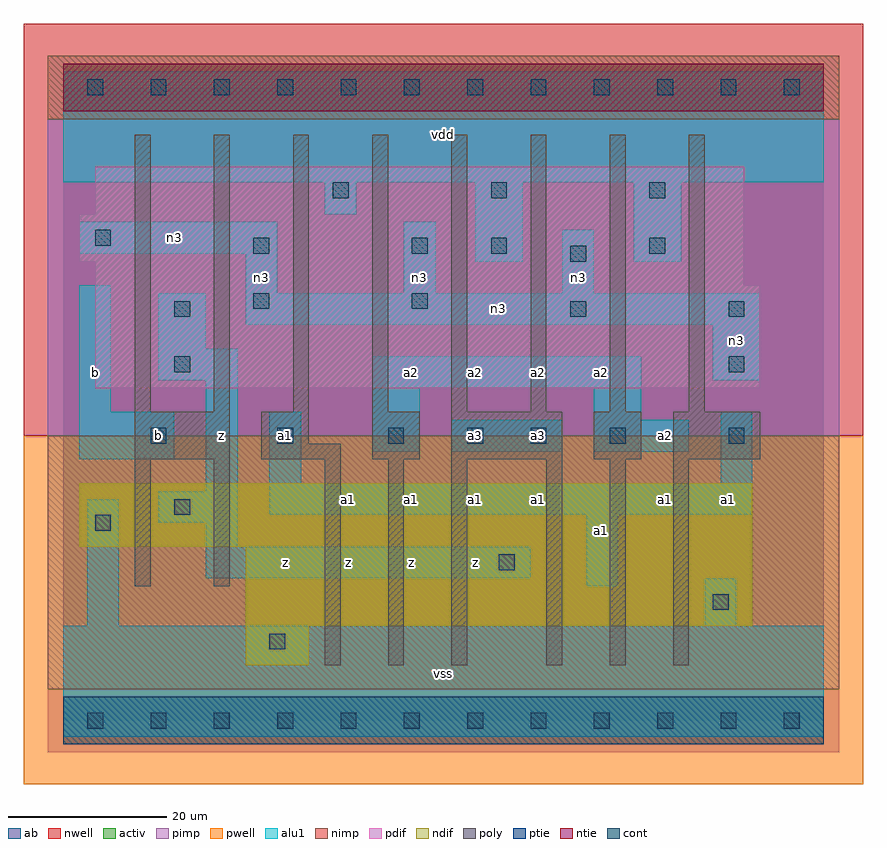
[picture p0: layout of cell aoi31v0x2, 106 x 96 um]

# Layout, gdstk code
import gdstk
lib = gdstk.Library(unit=1e-6, precision=1e-09)
def R(c, l, rs):  # rectangles x0, y0, x1, y1
    for r in rs: c.add(gdstk.rectangle(r[:2], r[2:], *l))
def A(c, l, x, y, w, h, nx, ny, dx, dy):  # array of equal rectangles
    R(c, l, [(x+i*dx, y+j*dy, x+i*dx+w, y+j*dy+h) for i in range(nx) for j in range(ny)])
ndif = (3, 0)
pdif = (4, 0)
ntie = (5, 0)
ptie = (6, 0)
cont = (25, 0)
pwell = (41, 0)
nwell = (42, 0)
activ = (43, 0)
pimp = (44, 0)
nimp = (45, 0)
poly = (46, 0)
alu1 = (49, 0)
ab = (63, 0)

aoi31v0x2 = lib.new_cell('aoi31v0x2')
R(aoi31v0x2, ndif, [(23,7,31,12), (23,12,87,22), (2,22,87,30)])
R(aoi31v0x2, pdif, [(4,42,88,55), (4,55,86,58), (2,58,86,64), (4,64,86,70)])
R(aoi31v0x2, ntie, [(0,77,96,83)])
R(aoi31v0x2, ptie, [(0,-3,96,3)])
A(aoi31v0x2, cont, 3, -1, 2, 2, 12, 2, 8, 80)
A(aoi31v0x2, cont, 34, 66, 2, 2, 3, 1, 20, 0)
R(aoi31v0x2, cont, [(26,9,28,11), (82,14,84,16), (55,19,57,21), (4,24,6,26), (14,26,16,28), (11,35,13,37), (27,35,29,37), (41,35,43,37), (51,35,53,37), (59,35,61,37), (69,35,71,37), (84,35,86,37), (14,44,16,46), (84,44,86,46), (14,51,16,53), (64,51,66,53), (84,51,86,53), (24,52,26,54), (44,52,46,54), (64,58,66,60), (24,59,26,61), (44,59,46,61), (54,59,56,61), (74,59,76,61), (4,60,6,62)])
R(aoi31v0x2, pwell, [(-5,-8,101,36)])
R(aoi31v0x2, nwell, [(-5,36,101,88)])
R(aoi31v0x2, activ, [(0,-3,96,3), (23,7,31,12), (23,12,87,22), (2,22,87,30), (4,42,88,55), (4,55,86,58), (2,58,86,64), (4,64,86,70), (0,77,96,83)])
R(aoi31v0x2, pimp, [(-2,-4,98,4), (-2,36,98,76)])
R(aoi31v0x2, nimp, [(-2,4,98,36), (-2,76,98,84)])
A(aoi31v0x2, poly, 33, 7, 2, 26, 3, 1, 8, 0)
A(aoi31v0x2, poly, 61, 7, 2, 26, 3, 1, 8, 0)
A(aoi31v0x2, poly, 9, 39, 2, 35, 8, 1, 10, 0)
R(aoi31v0x2, poly, [(9,17,11,33), (19,17,21,33), (9,33,21,39), (25,33,35,35), (39,33,45,39), (49,33,63,39), (67,33,73,39), (77,33,88,39), (25,35,31,39)])
R(aoi31v0x2, alu1, [(0,-2,96,12), (3,12,7,28), (81,12,85,18), (66,17,70,26), (18,18,59,22), (18,22,22,25), (12,25,22,29), (26,26,87,30), (18,29,22,43), (26,30,30,39), (83,30,87,39), (2,33,14,39), (39,34,45,42), (49,34,63,38), (67,34,79,38), (67,38,73,42), (2,39,6,55), (39,42,73,46), (12,43,22,47), (82,43,88,50), (12,47,18,54), (23,50,88,54), (23,54,27,59), (43,54,47,63), (63,54,67,62), (52,58,58,68), (72,58,78,68), (2,59,27,63), (33,64,37,68), (0,68,96,82)])
R(aoi31v0x2, ab, [(0,0,96,80)])
aoi31v0x2.add(gdstk.Label('n3', (45,56), layer=49, texttype=0))
aoi31v0x2.add(gdstk.Label('n3', (14,61), layer=49, texttype=0))
aoi31v0x2.add(gdstk.Label('n3', (25,56), layer=49, texttype=0))
aoi31v0x2.add(gdstk.Label('n3', (65,56), layer=49, texttype=0))
aoi31v0x2.add(gdstk.Label('n3', (55,52), layer=49, texttype=0))
aoi31v0x2.add(gdstk.Label('n3', (85,48), layer=49, texttype=0))
aoi31v0x2.add(gdstk.Label('b', (4,44), layer=49, texttype=0))
aoi31v0x2.add(gdstk.Label('b', (12,36), layer=49, texttype=0))
aoi31v0x2.add(gdstk.Label('z', (28,20), layer=49, texttype=0))
aoi31v0x2.add(gdstk.Label('z', (20,36), layer=49, texttype=0))
aoi31v0x2.add(gdstk.Label('a1', (28,36), layer=49, texttype=0))
aoi31v0x2.add(gdstk.Label('vss', (48,6), layer=49, texttype=0))
aoi31v0x2.add(gdstk.Label('z', (36,20), layer=49, texttype=0))
aoi31v0x2.add(gdstk.Label('a1', (36,28), layer=49, texttype=0))
aoi31v0x2.add(gdstk.Label('z', (44,20), layer=49, texttype=0))
aoi31v0x2.add(gdstk.Label('a1', (44,28), layer=49, texttype=0))
aoi31v0x2.add(gdstk.Label('z', (52,20), layer=49, texttype=0))
aoi31v0x2.add(gdstk.Label('a1', (52,28), layer=49, texttype=0))
aoi31v0x2.add(gdstk.Label('a2', (44,44), layer=49, texttype=0))
aoi31v0x2.add(gdstk.Label('a3', (52,36), layer=49, texttype=0))
aoi31v0x2.add(gdstk.Label('a2', (52,44), layer=49, texttype=0))
aoi31v0x2.add(gdstk.Label('vdd', (48,74), layer=49, texttype=0))
aoi31v0x2.add(gdstk.Label('a1', (60,28), layer=49, texttype=0))
aoi31v0x2.add(gdstk.Label('a1', (68,24), layer=49, texttype=0))
aoi31v0x2.add(gdstk.Label('a1', (76,28), layer=49, texttype=0))
aoi31v0x2.add(gdstk.Label('a3', (60,36), layer=49, texttype=0))
aoi31v0x2.add(gdstk.Label('a2', (60,44), layer=49, texttype=0))
aoi31v0x2.add(gdstk.Label('a2', (68,44), layer=49, texttype=0))
aoi31v0x2.add(gdstk.Label('a2', (76,36), layer=49, texttype=0))
aoi31v0x2.add(gdstk.Label('a1', (84,28), layer=49, texttype=0))

lib.write_gds('aoi31v0x2.gds')
